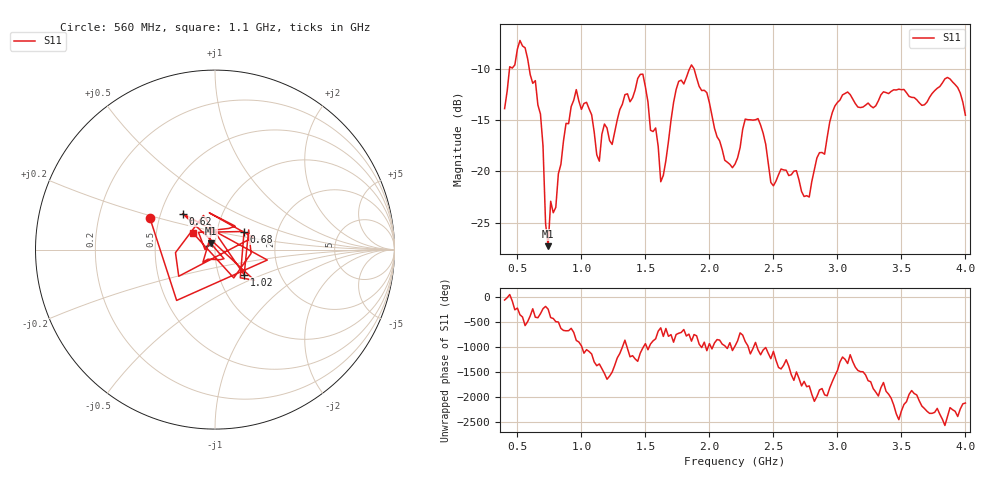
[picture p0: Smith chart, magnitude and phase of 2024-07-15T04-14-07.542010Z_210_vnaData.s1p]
!Created with skrf (http://scikit-rf.org).
# Hz S RI R 50.0
!freq ReS11 ImS11
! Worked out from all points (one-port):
!   181 points, 400 MHz to 4 GHz, reference 50 ohm
!   lowest |S11| = -27.3 dB at 740 MHz (marker M1), VSWR 1.09, Z = 47.5 + j3.4 ohm
!   |S11| at or under -10 dB: start of sweep to 438.1 MHz; 593 MHz to 1.844 GHz (1.251 GHz wide, 103 % of centre); 1.881 GHz to end of sweep
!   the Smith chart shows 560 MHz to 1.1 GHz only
!   S11 on the Smith chart (normalised r, x): 560 MHz: 0.44, +0.18; 620 MHz: 0.65, +0.28; 680 MHz: 1.35, +0.28; 1.02 GHz: 1.32, -0.39; 1.1 GHz: 0.77, +0.15
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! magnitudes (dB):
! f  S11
! 400 MHz  -13.9
! 440 MHz  -9.8
! 560 MHz  -7.9
! 620 MHz  -11.4
! 680 MHz  -14.4
! 740 MHz  -27.3
! 760 MHz  -22.9
! 800 MHz  -23.5
! 860 MHz  -17.0
! 960 MHz  -12.0
! 1.02 GHz  -13.4
! 1.1 GHz  -16.2
! 1.14 GHz  -19.0
! 1.3 GHz  -14.0
! 1.48 GHz  -10.5
! 1.62 GHz  -21.0
! 1.76 GHz  -11.2
! 1.86 GHz  -9.6
! 2.2 GHz  -19.3
! 2.38 GHz  -14.8
! 2.48 GHz  -21.1
! 2.66 GHz  -20.0
! 2.78 GHz  -22.5
! 2.98 GHz  -13.6
! 3.1 GHz  -12.5
! 3.56 GHz  -12.7
! 3.86 GHz  -10.8
! 4 GHz  -14.5
